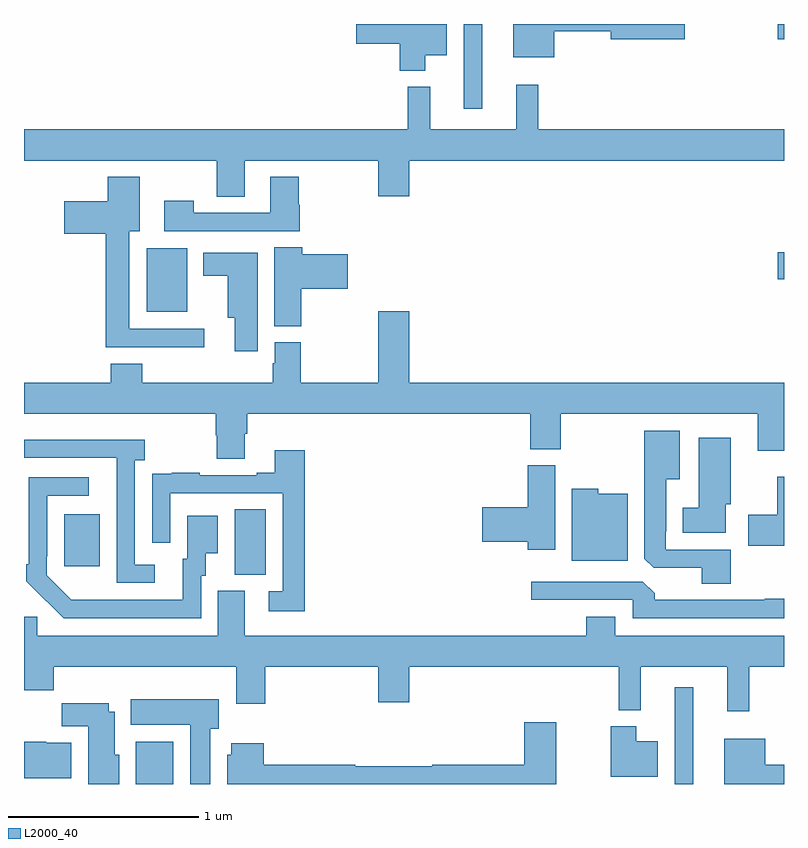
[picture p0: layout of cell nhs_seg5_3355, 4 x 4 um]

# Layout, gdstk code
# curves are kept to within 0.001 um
import gdstk
lib = gdstk.Library(unit=1e-6, precision=1e-09)
def R(c, l, rs):  # rectangles x0, y0, x1, y1
    for r in rs: c.add(gdstk.rectangle(r[:2], r[2:], *l))
def P(c, l, *ps):  # polygons
    for p in ps: c.add(gdstk.Polygon(p, *l))
L2000_40 = (2000, 40)

nhs_seg5_3355 = lib.new_cell('nhs_seg5_3355')
R(nhs_seg5_3355, L2000_40, [(307.589,866.799,307.786,867.022), (310.425,866.799,310.522,867.307), (308.108,867.901,308.272,868.244), (307.211,867.945,307.399,868.219), (307.646,869.285,307.858,869.62), (310.968,869.456,311,869.598), (309.315,870.354,309.412,870.799), (310.968,870.718,311,870.799)])
P(nhs_seg5_3355, L2000_40, [(309.79,870.76),(310.088,870.76),(310.088,870.718),(310.477,870.718),(310.477,870.799),(309.575,870.799),(309.575,870.623),(309.79,870.623)],
  [(309.112,870.635),(309.226,870.635),(309.226,870.799),(308.748,870.799),(308.748,870.694),(308.978,870.694),(308.978,870.554),(309.112,870.554)],
  [(308.161,870.08),(308.864,870.08),(308.864,869.892),(309.028,869.892),(309.028,870.08),(311,870.08),(311,870.244),(309.707,870.244),(309.707,870.478),(309.59,870.478),(309.59,870.244),(309.137,870.244),(309.137,870.469),(309.019,870.469),(309.019,870.244),(307,870.244),(307,870.08),(308.014,870.08),(308.014,869.89),(308.161,869.89)],
  [(307.948,869.196),(307.555,869.196),(307.555,869.708),(307.609,869.708),(307.609,869.995),(307.442,869.995),(307.442,869.866),(307.212,869.866),(307.212,869.696),(307.43,869.696),(307.43,869.099),(307.948,869.099)],
  [(308.45,869.847),(308.445,869.847),(308.445,869.995),(308.297,869.995),(308.297,869.805),(307.893,869.805),(307.893,869.869),(307.737,869.869),(307.737,869.709),(308.45,869.709)],
  [(308.46,869.405),(308.704,869.405),(308.704,869.588),(308.465,869.588),(308.465,869.624),(308.318,869.624),(308.318,869.209),(308.46,869.209)],
  [(308.23,869.596),(307.943,869.596),(307.943,869.474),(308.072,869.474),(308.072,869.252),(308.108,869.252),(308.108,869.076),(308.23,869.076)],
  [(308.161,868.642),(308.174,868.642),(308.174,868.748),(309.665,868.748),(309.665,868.561),(309.825,868.561),(309.825,868.748),(310.862,868.748),(310.862,868.554),(311,868.554),(311,868.912),(309.028,868.912),(309.028,869.287),(308.864,869.287),(308.864,868.912),(308.457,868.912),(308.457,869.124),(308.321,869.124),(308.321,869.013),(308.309,869.013),(308.309,868.912),(307.622,868.912),(307.622,869.011),(307.457,869.011),(307.457,868.912),(307,868.912),(307,868.748),(308.009,868.748),(308.009,868.635),(308.014,868.635),(308.014,868.51),(308.161,868.51)],
  [(310.721,868.032),(310.377,868.032),(310.377,868.129),(310.381,868.129),(310.381,868.403),(310.45,868.403),(310.45,868.657),(310.265,868.657),(310.265,867.985),(310.314,867.936),(310.568,867.936),(310.568,867.853),(310.721,867.853)],
  [(310.693,868.272),(310.72,868.272),(310.72,868.621),(310.55,868.621),(310.55,868.252),(310.466,868.252),(310.466,868.121),(310.693,868.121)],
  [(307.687,867.954),(307.584,867.954),(307.584,868.502),(307.636,868.502),(307.636,868.612),(307,868.612),(307,868.515),(307.487,868.515),(307.487,868.315),(307.488,868.315),(307.488,867.858),(307.687,867.858)],
  [(308.477,868.555),(308.321,868.555),(308.321,868.438),(308.225,868.438),(308.225,868.425),(307.925,868.425),(307.925,868.438),(307.777,868.438),(307.777,868.431),(307.675,868.431),(307.675,868.322),(307.674,868.322),(307.674,868.068),(307.77,868.068),(307.77,868.329),(308.361,868.329),(308.361,867.813),(308.289,867.813),(308.289,867.708),(308.477,867.708)],
  [(309.796,868.476),(309.65,868.476),(309.65,868.256),(309.411,868.256),(309.411,868.073),(309.65,868.073),(309.65,868.032),(309.796,868.032)],
  [(311,868.417),(310.964,868.417),(310.964,868.215),(310.812,868.215),(310.812,868.052),(311,868.052)],
  [(307.932,867.894),(307.957,867.894),(307.957,868.013),(308.02,868.013),(308.02,868.21),(307.859,868.21),(307.859,867.984),(307.835,867.984),(307.835,867.768),(307.248,867.769),(307.119,867.897),(307.119,867.997),(307.122,867.997),(307.122,868.317),(307.342,868.317),(307.342,868.413),(307.026,868.413),(307.026,867.955),(307.011,867.955),(307.011,867.867),(307.208,867.672),(307.932,867.672)],
  [(310.177,868.327),(310.023,868.327),(310.023,868.354),(309.884,868.354),(309.884,867.974),(310.177,867.974)],
  [(311,867.773),(310.898,867.773),(310.898,867.768),(310.319,867.768),(310.319,867.802),(310.257,867.864),(309.669,867.864),(309.669,867.768),(310.203,867.768),(310.203,867.672),(311,867.672)],
  [(310.817,867.416),(311,867.416),(311,867.58),(310.111,867.58),(310.111,867.679),(309.959,867.679),(309.959,867.58),(308.161,867.58),(308.161,867.816),(308.021,867.816),(308.021,867.58),(307.071,867.58),(307.071,867.678),(307,867.678),(307,867.416),(307.001,867.416),(307.001,867.292),(307.157,867.292),(307.157,867.416),(308.117,867.416),(308.117,867.222),(308.27,867.222),(308.27,867.416),(308.864,867.416),(308.864,867.228),(309.028,867.228),(309.028,867.416),(310.129,867.416),(310.129,867.188),(310.247,867.188),(310.247,867.416),(310.7,867.416),(310.7,867.183),(310.817,867.183)],
  [(307.981,867.09),(308.026,867.09),(308.026,867.244),(307.562,867.244),(307.562,867.11),(307.874,867.11),(307.874,866.799),(307.981,866.799)],
  [(307.501,866.952),(307.477,866.952),(307.477,867.178),(307.447,867.178),(307.447,867.223),(307.198,867.223),(307.198,867.104),(307.337,867.104),(307.337,866.799),(307.501,866.799)],
  [(309.802,867.124),(309.632,867.124),(309.632,866.9),(309.148,866.9),(309.148,866.893),(308.744,866.893),(308.744,866.9),(308.261,866.9),(308.261,867.013),(308.09,867.013),(308.09,866.952),(308.069,866.952),(308.069,866.799),(309.802,866.799)],
  [(310.336,867.025),(310.222,867.025),(310.222,867.103),(310.088,867.103),(310.088,866.837),(310.336,866.837)],
  [(311,866.9),(310.9,866.9),(310.9,867.037),(310.685,867.037),(310.685,866.799),(311,866.799)],
  [(307.249,867.016),(307.116,867.016),(307.116,867.022),(307,867.022),(307,866.846),(307.002,866.846),(307.002,866.828),(307.249,866.828)])

lib.write_gds('nhs_seg5_3355.gds')
